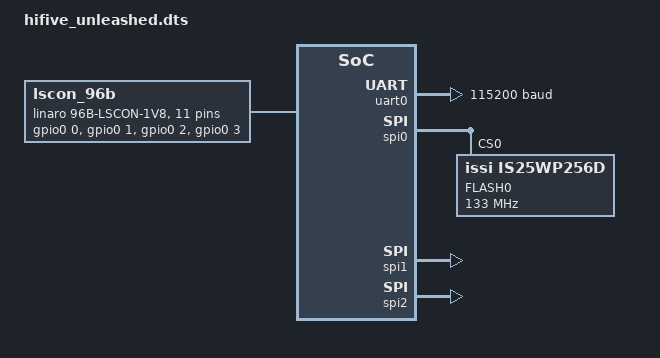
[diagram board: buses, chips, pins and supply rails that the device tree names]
/*
 * Copyright (c) 2021 Katsuhiro Suzuki
 *
 * SPDX-License-Identifier: Apache-2.0
 */

/dts-v1/;

#include <sifive/riscv64-fu540.dtsi>

/ {
	chosen {
		zephyr,console = &uart0;
		zephyr,shell-uart = &uart0;
		zephyr,sram = &ram0;
	};

	ram0: ram0@80000000 {
		compatible = "memory";
		reg = <0x80000000 0xf0000000>;
		reg-names = "mem";
	};

	lscon_96b: connector {
		compatible = "linaro,96b-lscon-1v8";
		#gpio-cells = <2>;
		gpio-map-mask = <0xffffffff 0xffffffc0>;
		gpio-map-pass-thru = <0 0x3f>;
		gpio-map = <22 0 &gpio0 0 0>,	/* GPIO-A */
			   <23 0 &gpio0 1 0>,	/* GPIO-B */
			   <24 0 &gpio0 2 0>,	/* GPIO-C */
			   <25 0 &gpio0 3 0>,	/* GPIO-D */
			   <26 0 &gpio0 4 0>,	/* GPIO-E */
			   <27 0 &gpio0 5 0>,	/* GPIO-F */
			   <38 0 &gpio0 6 0>,	/* GPIO-G */
			   <39 0 &gpio0 7 0>,	/* GPIO-H */
			   <30 0 &gpio0 8 0>,	/* GPIO-I */
			   <31 0 &gpio0 9 0>,	/* GPIO-J */
			   <32 0 &gpio0 15 0>;	/* GPIO-K */
			   /* GPIO-L not connected */
	};
};

&uart0 {
	status = "okay";
	current-speed = <115200>;
};

&spi0 {
	status = "okay";

	reg = <0x10040000 0x1000 0x20000000 0x2000000>;
	flash0: flash@0 {
		compatible = "issi,is25wp256d", "jedec,spi-nor";
		size = <33554432>;
		label = "FLASH0";
		jedec-id = [96 60 18];
		reg = <0>;
		spi-max-frequency = <133000000>;
	};
};

&spi1 {
	status = "okay";
};

&spi2 {
	status = "okay";
};

&gpio0 {
	status = "okay";
};
